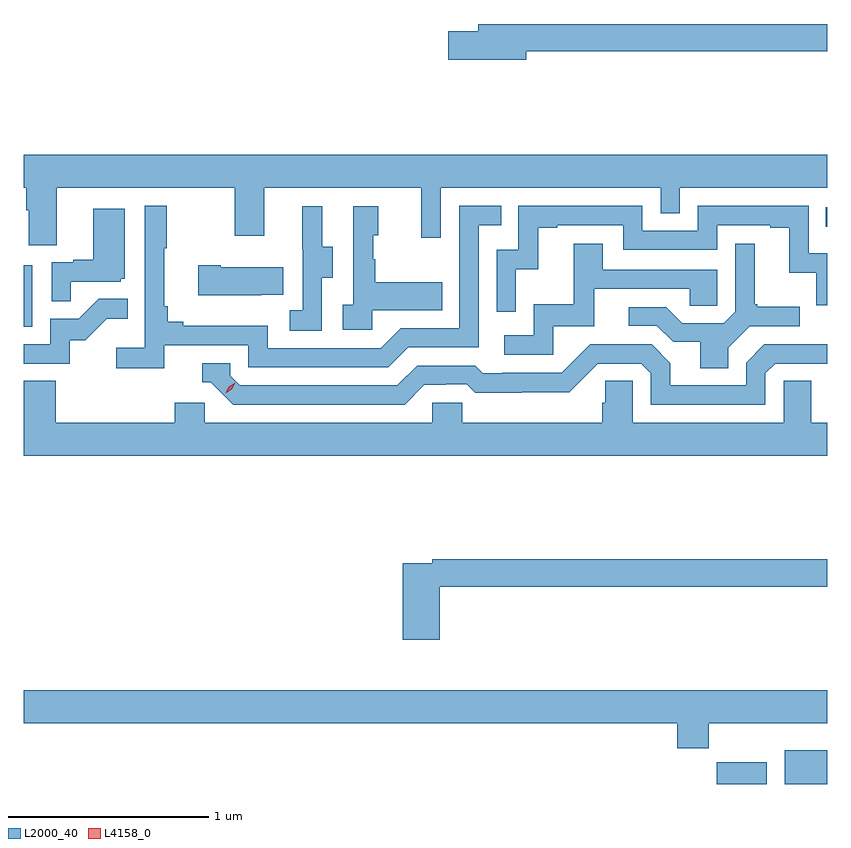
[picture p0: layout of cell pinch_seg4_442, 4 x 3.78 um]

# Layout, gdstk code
import gdstk
lib = gdstk.Library(unit=1e-6, precision=1e-09)
def R(c, l, rs):  # rectangles x0, y0, x1, y1
    for r in rs: c.add(gdstk.rectangle(r[:2], r[2:], *l))
def P(c, l, *ps):  # polygons
    for p in ps: c.add(gdstk.Polygon(p, *l))
L2000_40 = (2000, 40)
L4158_0 = (4158, 0)

pinch_seg4_442 = lib.new_cell('pinch_seg4_442')
R(pinch_seg4_442, L2000_40, [(936.346,781.865,936.595,781.974), (936.683,781.865,936.896,782.032), (932.896,784.14,932.938,784.447), (936.889,784.64,936.896,784.737)])
P(pinch_seg4_442, L2000_40, [(935.398,785.512),(936.896,785.512),(936.896,785.648),(935.159,785.648),(935.159,785.612),(935.01,785.612),(935.01,785.47),(935.398,785.47)],
  [(932.896,784.832),(932.909,784.832),(932.909,784.72),(932.921,784.72),(932.921,784.546),(933.061,784.546),(933.061,784.832),(933.946,784.832),(933.946,784.593),(934.093,784.593),(934.093,784.832),(934.874,784.832),(934.874,784.584),(934.971,784.584),(934.971,784.832),(936.066,784.832),(936.066,784.705),(936.162,784.705),(936.162,784.832),(936.896,784.832),(936.896,784.996),(932.896,784.996)],
  [(933.596,784.05),(934.014,784.05),(934.014,783.939),(934.711,783.939),(934.81,784.038),(935.16,784.038),(935.16,784.647),(935.273,784.647),(935.273,784.743),(935.064,784.743),(935.064,784.134),(934.773,784.134),(934.674,784.035),(934.11,784.035),(934.11,784.147),(933.691,784.147),(933.691,784.166),(933.614,784.166),(933.614,784.243),(933.595,784.243),(933.595,784.531),(933.607,784.531),(933.607,784.744),(933.498,784.744),(933.498,784.036),(933.357,784.036),(933.357,783.934),(933.596,783.934)],
  [(935.346,784.427),(935.456,784.427),(935.456,784.635),(935.551,784.635),(935.551,784.647),(935.88,784.647),(935.88,784.524),(936.348,784.524),(936.348,784.647),(936.611,784.647),(936.611,784.635),(936.707,784.635),(936.707,784.409),(936.84,784.409),(936.84,784.248),(936.896,784.248),(936.896,784.507),(936.804,784.507),(936.804,784.743),(936.252,784.743),(936.252,784.62),(935.976,784.62),(935.976,784.743),(935.358,784.743),(935.358,784.524),(935.25,784.524),(935.25,784.215),(935.346,784.215)],
  [(934.632,784.223),(934.979,784.223),(934.979,784.363),(934.645,784.363),(934.645,784.478),(934.635,784.478),(934.635,784.596),(934.66,784.596),(934.66,784.741),(934.536,784.741),(934.536,784.25),(934.485,784.25),(934.485,784.125),(934.632,784.125)],
  [(934.38,784.384),(934.435,784.384),(934.435,784.539),(934.381,784.539),(934.381,784.741),(934.283,784.741),(934.283,784.527),(934.284,784.527),(934.284,784.223),(934.221,784.223),(934.221,784.12),(934.38,784.12)],
  [(933.131,784.365),(933.378,784.365),(933.378,784.38),(933.4,784.38),(933.4,784.729),(933.242,784.729),(933.242,784.474),(933.143,784.474),(933.143,784.461),(933.036,784.461),(933.036,784.267),(933.131,784.267)],
  [(935.532,784.143),(935.737,784.143),(935.737,784.329),(936.211,784.329),(936.211,784.245),(936.348,784.245),(936.348,784.425),(935.779,784.425),(935.779,784.555),(935.635,784.555),(935.635,784.252),(935.436,784.252),(935.436,784.098),(935.289,784.098),(935.289,784.002),(935.532,784.002)],
  [(936.403,784.036),(936.51,784.143),(936.76,784.143),(936.76,784.24),(936.547,784.24),(936.547,784.252),(936.535,784.252),(936.535,784.555),(936.438,784.555),(936.438,784.215),(936.381,784.158),(936.175,784.158),(936.094,784.239),(935.907,784.239),(935.907,784.146),(936.048,784.146),(936.128,784.066),(936.263,784.066),(936.263,783.934),(936.403,783.934)],
  [(934.079,784.301),(934.187,784.301),(934.187,784.438),(933.877,784.438),(933.877,784.446),(933.765,784.446),(933.765,784.298),(934.079,784.298)],
  [(933.126,784.074),(933.202,784.074),(933.309,784.181),(933.413,784.181),(933.413,784.28),(933.269,784.28),(933.171,784.182),(933.027,784.182),(933.027,784.053),(932.896,784.053),(932.896,783.957),(933.126,783.957)],
  [(934.891,783.852),(934.998,783.852),(934.998,783.855),(935.101,783.855),(935.143,783.813),(935.376,783.813),(935.376,783.815),(935.612,783.815),(935.754,783.957),(935.97,783.957),(936.018,783.909),(936.018,783.753),(936.588,783.753),(936.588,783.909),(936.636,783.957),(936.896,783.957),(936.896,784.055),(936.798,784.055),(936.798,784.053),(936.582,784.053),(936.492,783.963),(936.492,783.849),(936.115,783.849),(936.115,783.959),(936.021,784.053),(935.715,784.053),(935.574,783.912),(935.281,783.912),(935.281,783.909),(935.182,783.909),(935.143,783.948),(934.854,783.948),(934.755,783.849),(933.972,783.849),(933.924,783.897),(933.924,783.96),(933.785,783.96),(933.785,783.864),(933.828,783.864),(933.939,783.753),(934.792,783.753)],
  [(936.896,783.664),(936.817,783.664),(936.817,783.872),(936.678,783.872),(936.678,783.664),(935.928,783.664),(935.928,783.872),(935.791,783.872),(935.791,783.762),(935.777,783.762),(935.777,783.664),(935.079,783.664),(935.079,783.762),(934.929,783.762),(934.929,783.664),(933.798,783.664),(933.798,783.762),(933.647,783.762),(933.647,783.664),(933.056,783.664),(933.056,783.872),(932.896,783.872),(932.896,783.5),(936.896,783.5)],
  [(934.967,782.848),(936.896,782.848),(936.896,782.984),(934.93,782.984),(934.93,782.964),(934.784,782.964),(934.784,782.583),(934.967,782.583)],
  [(936.305,782.168),(936.896,782.168),(936.896,782.332),(932.896,782.332),(932.896,782.168),(936.149,782.168),(936.149,782.044),(936.305,782.044)])
P(pinch_seg4_442, L4158_0, [(933.901,783.811),(933.901,783.811),(933.917,783.843),(933.949,783.862),(933.949,783.862),(933.949,783.862),(933.932,783.83),(933.901,783.811)])

lib.write_gds('pinch_seg4_442.gds')
